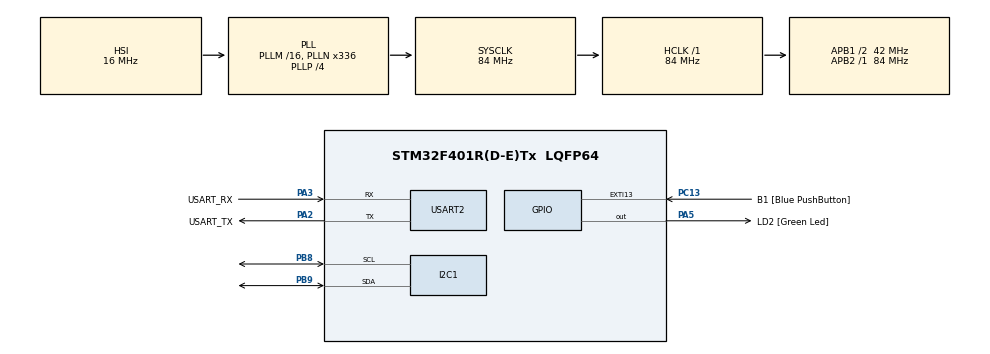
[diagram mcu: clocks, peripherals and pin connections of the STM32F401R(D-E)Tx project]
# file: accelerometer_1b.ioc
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Dma.Request0=USART2_TX
Dma.USART2_TX.0.Direction=DMA_MEMORY_TO_PERIPH
Dma.USART2_TX.0.FIFOMode=DMA_FIFOMODE_DISABLE
Dma.USART2_TX.0.Instance=DMA1_Stream6
Dma.USART2_TX.0.MemDataAlignment=DMA_MDATAALIGN_BYTE
Dma.USART2_TX.0.MemInc=DMA_MINC_ENABLE
Dma.USART2_TX.0.Mode=DMA_NORMAL
Dma.USART2_TX.0.PeriphDataAlignment=DMA_PDATAALIGN_BYTE
Dma.USART2_TX.0.PeriphInc=DMA_PINC_DISABLE
Dma.USART2_TX.0.Priority=DMA_PRIORITY_LOW
Mcu.Family=STM32F4
Mcu.Name=STM32F401R(D-E)Tx
Mcu.Package=LQFP64
NVIC.DMA1_Stream6_IRQn=true\:0\:0\:false\:false\:true\:false\:true\:true
NVIC.PriorityGroup=NVIC_PRIORITYGROUP_0
NVIC.TIM2_IRQn=true\:0\:0\:false\:false\:true\:true\:true\:true
NVIC.USART2_IRQn=true\:0\:0\:false\:false\:true\:true\:true\:true
PA13.GPIO_Label=TMS
PA13.Mode=Serial_Wire
PA13.Signal=SYS_JTMS-SWDIO
PA14.GPIO_Label=TCK
PA14.Mode=Serial_Wire
PA14.Signal=SYS_JTCK-SWCLK
PA2.GPIO_Label=USART_TX
PA2.GPIO_Mode=GPIO_MODE_AF_PP
PA2.GPIO_PuPd=GPIO_NOPULL
PA2.GPIO_Speed=GPIO_SPEED_FREQ_LOW
PA2.Mode=Asynchronous
PA2.Signal=USART2_TX
PA3.GPIO_Label=USART_RX
PA3.GPIO_Mode=GPIO_MODE_AF_PP
PA3.GPIO_PuPd=GPIO_NOPULL
PA3.GPIO_Speed=GPIO_SPEED_FREQ_LOW
PA3.Mode=Asynchronous
PA3.Signal=USART2_RX
PA5.GPIO_Label=LD2 [Green Led]
PA5.GPIO_Mode=GPIO_MODE_OUTPUT_PP
PA5.GPIO_PuPd=GPIO_NOPULL
PA5.GPIO_Speed=GPIO_SPEED_FREQ_LOW
PA5.Signal=GPIO_Output
PB3.GPIO_Label=SWO
PB3.Signal=SYS_JTDO-SWO
PB8.Mode=I2C
PB8.Signal=I2C1_SCL
PB9.Mode=I2C
PB9.Signal=I2C1_SDA
PC13-ANTI_TAMP.GPIO_Label=B1 [Blue PushButton]
PC13-ANTI_TAMP.GPIO_ModeDefaultEXTI=GPIO_MODE_IT_FALLING
PC13-ANTI_TAMP.GPIO_PuPd=GPIO_NOPULL
PC13-ANTI_TAMP.Signal=GPXTI13
PC14-OSC32_IN.Mode=LSE-External-Oscillator
PC14-OSC32_IN.Signal=RCC_OSC32_IN
PC15-OSC32_OUT.Mode=LSE-External-Oscillator
PC15-OSC32_OUT.Signal=RCC_OSC32_OUT
PH0\ -\ OSC_IN.Mode=HSE-External-Clock-Source
PH0\ -\ OSC_IN.Signal=RCC_OSC_IN
PH1\ -\ OSC_OUT.Mode=HSE-External-Clock-Source
PH1\ -\ OSC_OUT.Signal=RCC_OSC_OUT
ProjectManager.HeapSize=0x200
ProjectManager.StackSize=0x400
ProjectManager.TargetToolchain=STM32CubeIDE
RCC.48MHZClocksFreq_Value=48000000
RCC.AHBFreq_Value=84000000
RCC.APB1CLKDivider=RCC_HCLK_DIV2
RCC.APB1Freq_Value=42000000
RCC.APB1TimFreq_Value=84000000
RCC.APB2Freq_Value=84000000
RCC.APB2TimFreq_Value=84000000
RCC.CortexFreq_Value=84000000
RCC.HCLKFreq_Value=84000000
RCC.HSE_VALUE=8000000
RCC.HSI_VALUE=16000000
RCC.PLLN=336
RCC.PLLP=RCC_PLLP_DIV4
RCC.PLLQ=7
RCC.SYSCLKFreq_VALUE=84000000
RCC.SYSCLKSource=RCC_SYSCLKSOURCE_PLLCLK
RCC.VCOOutputFreq_Value=336000000
TIM2.AutoReloadPreload=TIM_AUTORELOAD_PRELOAD_ENABLE
TIM2.Period=1000000-1
TIM2.Prescaler=84-1
USART2.VirtualMode=VM_ASYNC
VP_TIM2_VS_ClockSourceINT.Mode=Internal
board=NUCLEO-F401RE

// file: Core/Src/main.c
/* USER CODE BEGIN Header */
/**
  ******************************************************************************
  * @file           : main.c
  * @brief          : Main program body
  ******************************************************************************
  * @attention
  *
  * Copyright (c) 2022 STMicroelectronics.
  * All rights reserved.
  *
  * This software is licensed under terms that can be found in the LICENSE file
  * in the root directory of this software component.
  * If no LICENSE file comes with this software, it is provided AS-IS.
  *
  ******************************************************************************
  */
/* USER CODE END Header */
#include "main.h"

/* USER CODE BEGIN Includes */
#include <stdio.h>
#include <string.h>
/* USER CODE END Includes */

I2C_HandleTypeDef hi2c1;

TIM_HandleTypeDef htim2;

UART_HandleTypeDef huart2;
DMA_HandleTypeDef hdma_usart2_tx;

/* USER CODE BEGIN PV */
uint8_t LIS2DE_ADD   = 0b01010000;
uint8_t LIS2DE12_ADD = 0b00110000;
uint8_t address;

uint8_t CTRL_REG1[2] = {0X20, 0b00010111};
uint8_t CTRL_REG2[2] = {0X21, 0b00000000};
uint8_t CTRL_REG3[2] = {0X22, 0b00000000};
uint8_t CTRL_REG4[2] = {0X23, 0b00000000};

uint8_t OUT_X = 0x29;
uint8_t OUT_Y = 0x2B;
uint8_t OUT_Z = 0x2D;
/* USER CODE END PV */

void SystemClock_Config(void);
static void MX_GPIO_Init(void);
static void MX_DMA_Init(void);
static void MX_USART2_UART_Init(void);
static void MX_I2C1_Init(void);
static void MX_TIM2_Init(void);

int main(void)
{

  /* MCU Configuration--------------------------------------------------------*/

  /* Reset of all peripherals, Initializes the Flash interface and the Systick. */
  HAL_Init();

  /* Configure the system clock */
  SystemClock_Config();

  /* Initialize all configured peripherals */
  MX_GPIO_Init();
  MX_DMA_Init();
  MX_USART2_UART_Init();
  MX_I2C1_Init();
  MX_TIM2_Init();
  /* USER CODE BEGIN 2 */
  char string[32];
  int length;
  if(HAL_I2C_Master_Transmit(&hi2c1, LIS2DE_ADD, CTRL_REG1, 2, 10) == HAL_OK){
	  length = snprintf(string, 32, "LIS2DE\r\n");
	  address = LIS2DE_ADD;
  }else if(HAL_I2C_Master_Transmit(&hi2c1, LIS2DE12_ADD, CTRL_REG1, 2, 10) == HAL_OK){
	  length = snprintf(string, 32, "LIS2DE12\r\n");
	  address = LIS2DE12_ADD;
  }else{
	  length = snprintf(string, 32, "error\r\n");
	  HAL_UART_Transmit_DMA(&huart2, (unsigned char *)string, length);
	  return 0;
  }

  HAL_UART_Transmit_DMA(&huart2, (unsigned char *)string, length);
  HAL_I2C_Master_Transmit(&hi2c1, address, CTRL_REG2, 2, 10);
  HAL_I2C_Master_Transmit(&hi2c1, address, CTRL_REG3, 2, 10);
  HAL_I2C_Master_Transmit(&hi2c1, address, CTRL_REG4, 2, 10);
  HAL_TIM_Base_Start_IT(&htim2);
  /* USER CODE END 2 */

  /* Infinite loop */
  while (1)
  {

  }
}

void SystemClock_Config(void)
{
  RCC_OscInitTypeDef RCC_OscInitStruct = {0};
  RCC_ClkInitTypeDef RCC_ClkInitStruct = {0};

  /** Configure the main internal regulator output voltage
  */
  __HAL_RCC_PWR_CLK_ENABLE();
  __HAL_PWR_VOLTAGESCALING_CONFIG(PWR_REGULATOR_VOLTAGE_SCALE2);

  /** Initializes the RCC Oscillators according to the specified parameters
  * in the RCC_OscInitTypeDef structure.
  */
  RCC_OscInitStruct.OscillatorType = RCC_OSCILLATORTYPE_HSI;
  RCC_OscInitStruct.HSIState = RCC_HSI_ON;
  RCC_OscInitStruct.HSICalibrationValue = RCC_HSICALIBRATION_DEFAULT;
  RCC_OscInitStruct.PLL.PLLState = RCC_PLL_ON;
  RCC_OscInitStruct.PLL.PLLSource = RCC_PLLSOURCE_HSI;
  RCC_OscInitStruct.PLL.PLLM = 16;
  RCC_OscInitStruct.PLL.PLLN = 336;
  RCC_OscInitStruct.PLL.PLLP = RCC_PLLP_DIV4;
  RCC_OscInitStruct.PLL.PLLQ = 7;
  if (HAL_RCC_OscConfig(&RCC_OscInitStruct) != HAL_OK)
  {
    Error_Handler();
  }

  /** Initializes the CPU, AHB and APB buses clocks
  */
  RCC_ClkInitStruct.ClockType = RCC_CLOCKTYPE_HCLK|RCC_CLOCKTYPE_SYSCLK
                              |RCC_CLOCKTYPE_PCLK1|RCC_CLOCKTYPE_PCLK2;
  RCC_ClkInitStruct.SYSCLKSource = RCC_SYSCLKSOURCE_PLLCLK;
  RCC_ClkInitStruct.AHBCLKDivider = RCC_SYSCLK_DIV1;
  RCC_ClkInitStruct.APB1CLKDivider = RCC_HCLK_DIV2;
  RCC_ClkInitStruct.APB2CLKDivider = RCC_HCLK_DIV1;

  if (HAL_RCC_ClockConfig(&RCC_ClkInitStruct, FLASH_LATENCY_2) != HAL_OK)
  {
    Error_Handler();
  }
}

static void MX_I2C1_Init(void)
{

  hi2c1.Instance = I2C1;
  hi2c1.Init.ClockSpeed = 100000;
  hi2c1.Init.DutyCycle = I2C_DUTYCYCLE_2;
  hi2c1.Init.OwnAddress1 = 0;
  hi2c1.Init.AddressingMode = I2C_ADDRESSINGMODE_7BIT;
  hi2c1.Init.DualAddressMode = I2C_DUALADDRESS_DISABLE;
  hi2c1.Init.OwnAddress2 = 0;
  hi2c1.Init.GeneralCallMode = I2C_GENERALCALL_DISABLE;
  hi2c1.Init.NoStretchMode = I2C_NOSTRETCH_DISABLE;
  if (HAL_I2C_Init(&hi2c1) != HAL_OK)
  {
    Error_Handler();
  }

}

static void MX_TIM2_Init(void)
{

  TIM_ClockConfigTypeDef sClockSourceConfig = {0};
  TIM_MasterConfigTypeDef sMasterConfig = {0};

  htim2.Instance = TIM2;
  htim2.Init.Prescaler = 84-1;
  htim2.Init.CounterMode = TIM_COUNTERMODE_UP;
  htim2.Init.Period = 1000000-1;
  htim2.Init.ClockDivision = TIM_CLOCKDIVISION_DIV1;
  htim2.Init.AutoReloadPreload = TIM_AUTORELOAD_PRELOAD_ENABLE;
  if (HAL_TIM_Base_Init(&htim2) != HAL_OK)
  {
    Error_Handler();
  }
  sClockSourceConfig.ClockSource = TIM_CLOCKSOURCE_INTERNAL;
  if (HAL_TIM_ConfigClockSource(&htim2, &sClockSourceConfig) != HAL_OK)
  {
    Error_Handler();
  }
  sMasterConfig.MasterOutputTrigger = TIM_TRGO_RESET;
  sMasterConfig.MasterSlaveMode = TIM_MASTERSLAVEMODE_DISABLE;
  if (HAL_TIMEx_MasterConfigSynchronization(&htim2, &sMasterConfig) != HAL_OK)
  {
    Error_Handler();
  }

}

static void MX_USART2_UART_Init(void)
{

  huart2.Instance = USART2;
  huart2.Init.BaudRate = 115200;
  huart2.Init.WordLength = UART_WORDLENGTH_8B;
  huart2.Init.StopBits = UART_STOPBITS_1;
  huart2.Init.Parity = UART_PARITY_NONE;
  huart2.Init.Mode = UART_MODE_TX_RX;
  huart2.Init.HwFlowCtl = UART_HWCONTROL_NONE;
  huart2.Init.OverSampling = UART_OVERSAMPLING_16;
  if (HAL_UART_Init(&huart2) != HAL_OK)
  {
    Error_Handler();
  }

}

static void MX_DMA_Init(void)
{

  /* DMA controller clock enable */
  __HAL_RCC_DMA1_CLK_ENABLE();

  /* DMA interrupt init */
  /* DMA1_Stream6_IRQn interrupt configuration */
  HAL_NVIC_SetPriority(DMA1_Stream6_IRQn, 0, 0);
  HAL_NVIC_EnableIRQ(DMA1_Stream6_IRQn);

}

static void MX_GPIO_Init(void)
{
  GPIO_InitTypeDef GPIO_InitStruct = {0};

  /* GPIO Ports Clock Enable */
  __HAL_RCC_GPIOC_CLK_ENABLE();
  __HAL_RCC_GPIOH_CLK_ENABLE();
  __HAL_RCC_GPIOA_CLK_ENABLE();
  __HAL_RCC_GPIOB_CLK_ENABLE();

  /*Configure GPIO pin Output Level */
  HAL_GPIO_WritePin(LD2_GPIO_Port, LD2_Pin, GPIO_PIN_RESET);

  /*Configure GPIO pin : B1_Pin */
  GPIO_InitStruct.Pin = B1_Pin;
  GPIO_InitStruct.Mode = GPIO_MODE_IT_FALLING;
  GPIO_InitStruct.Pull = GPIO_NOPULL;
  HAL_GPIO_Init(B1_GPIO_Port, &GPIO_InitStruct);

  /*Configure GPIO pin : LD2_Pin */
  GPIO_InitStruct.Pin = LD2_Pin;
  GPIO_InitStruct.Mode = GPIO_MODE_OUTPUT_PP;
  GPIO_InitStruct.Pull = GPIO_NOPULL;
  GPIO_InitStruct.Speed = GPIO_SPEED_FREQ_LOW;
  HAL_GPIO_Init(LD2_GPIO_Port, &GPIO_InitStruct);

}

/* USER CODE BEGIN 4 */
void HAL_TIM_PeriodElapsedCallback(TIM_HandleTypeDef *htim){
	uint8_t out_x;
	uint8_t out_y;
	uint8_t out_z;

	HAL_I2C_Master_Transmit(&hi2c1, address, &OUT_X, 1, 50);
	HAL_I2C_Master_Receive(&hi2c1, address+1, &out_x, 1, 50);

	HAL_I2C_Master_Transmit(&hi2c1, address, &OUT_Y, 1, 50);
	HAL_I2C_Master_Receive(&hi2c1, address+1, &out_y, 1, 50);

	HAL_I2C_Master_Transmit(&hi2c1, address, &OUT_Z, 1, 50);
	HAL_I2C_Master_Receive(&hi2c1, address+1, &out_z, 1, 50);

	float x = out_x/64.0;
	float y = out_y/64.0;
	float z = out_z/64.0;

	char string[64];
	int length;
	length = snprintf(string, 64, "x = %+.3f g y = %+.3f g z = %+.3f g\r\n", x, y, z);

	HAL_UART_Transmit_DMA(&huart2, (unsigned char *)string, length);
}
/* USER CODE END 4 */

void Error_Handler(void)
{
  __disable_irq();
  while (1)
  {
  }
}
